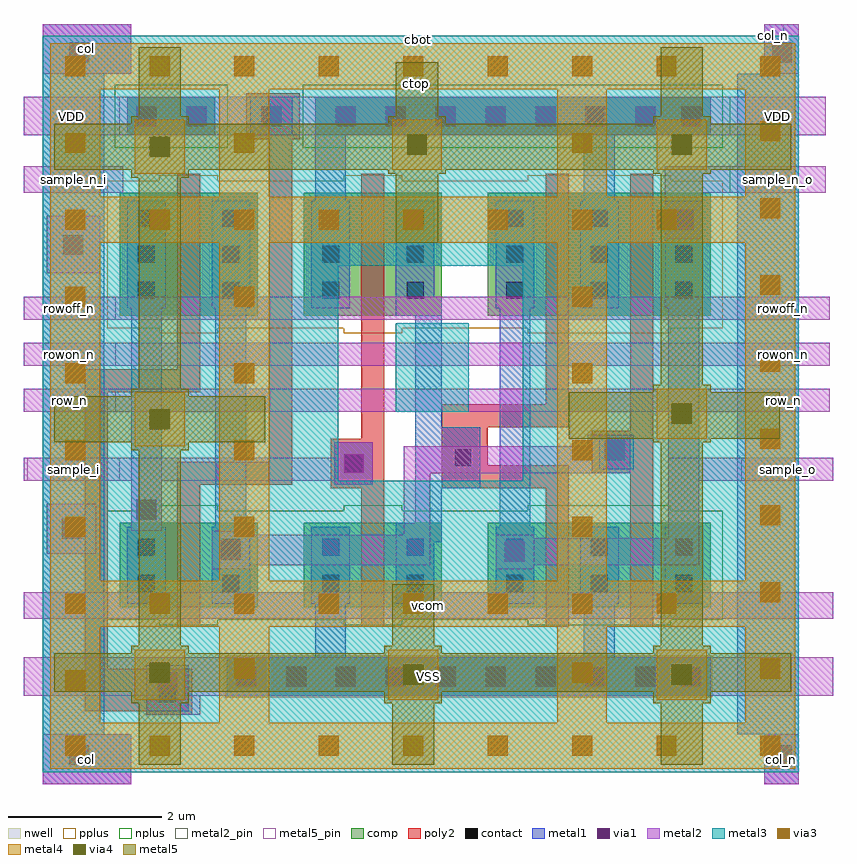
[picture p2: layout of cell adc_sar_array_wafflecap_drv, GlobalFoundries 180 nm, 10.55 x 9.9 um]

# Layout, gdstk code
import gdstk
lib = gdstk.Library(unit=1e-6, precision=1e-09)
def R(c, l, rs):  # rectangles x0, y0, x1, y1
    for r in rs: c.add(gdstk.rectangle(r[:2], r[2:], *l))
def A(c, l, x, y, w, h, nx, ny, dx, dy):  # array of equal rectangles
    R(c, l, [(x+i*dx, y+j*dy, x+i*dx+w, y+j*dy+h) for i in range(nx) for j in range(ny)])
nwell = (21, 0)
comp = (22, 0)
poly2 = (30, 0)
pplus = (31, 0)
nplus = (32, 0)
contact = (33, 0)
metal1 = (34, 0)
via1 = (35, 0)
metal2 = (36, 0)
metal2_pin = (36, 10)
via3 = (40, 0)
via4 = (41, 0)
metal3 = (42, 0)
metal4 = (46, 0)
metal5 = (81, 0)
metal5_pin = (81, 10)

adc_sar_array_wafflecap_ = lib.new_cell('adc_sar_array_wafflecap_drv')
R(adc_sar_array_wafflecap_, nwell, [(-10.2,5.5,-8.4,7.1), (-7.8,5.5,-6,7.1), (-5.4,5.5,-2.5,7.1), (-10.1,7.85,-8.95,8.35), (-7.65,7.85,-2.5,8.35)])
R(adc_sar_array_wafflecap_, comp, [(-8.8,0.55,-2.5,1.05), (-10.2,1.7,-8.4,2.8), (-7.8,1.7,-6,2.8), (-5.4,1.7,-2.5,2.8), (-10.2,5.5,-8.4,7.1), (-7.8,5.5,-6,7.1), (-5.4,5.5,-2.5,7.1), (-10.1,7.85,-8.95,8.35), (-7.65,7.85,-2.5,8.35)])
R(adc_sar_array_wafflecap_, poly2, [(-9.85,0.3,-9.25,0.35), (-10.65,0.35,-9.25,0.9), (-10.65,0.9,-10.35,4.5), (-9.45,1.45,-9.15,3.3), (-7.05,1.45,-6.75,3.25), (-4.65,1.45,-4.35,3.25), (-3.55,1.45,-3.25,3.45), (-7.45,3.25,-6.75,3.9), (-6,3.25,-4.35,3.55), (-9.45,3.3,-7.95,3.6), (-4.05,3.45,-3.25,4), (-6,3.55,-5.4,4.05), (-8.25,3.6,-7.95,7.8), (-7.05,3.9,-6.75,7.35), (-3.55,4,-3.25,7.35), (-6,4.05,-4.35,4.35), (-4.65,4.35,-4.35,7.35), (-10.65,4.5,-9.15,4.8), (-9.45,4.8,-9.15,7.35), (-8.55,7.8,-7.85,8.4)])
R(adc_sar_array_wafflecap_, pplus, [(-8.82,0.53,-2.48,1.07), (-9.68,5.27,-8.92,5.34), (-7.28,5.27,-6.52,5.34), (-4.88,5.27,-3.02,5.34), (-10.36,5.34,-2.34,7.26), (-9.68,7.26,-8.92,7.33), (-7.28,7.26,-6.52,7.33), (-4.88,7.26,-3.02,7.33)])
R(adc_sar_array_wafflecap_, nplus, [(-9.68,1.47,-8.92,1.54), (-7.28,1.47,-6.52,1.54), (-4.88,1.47,-3.02,1.54), (-10.36,1.54,-2.34,2.96), (-9.68,2.96,-8.92,3.03), (-7.28,2.96,-6.52,3.03), (-4.88,2.96,-3.02,3.03), (-10.26,7.69,-8.79,8.51), (-7.81,7.69,-2.34,8.51)])
A(adc_sar_array_wafflecap_, contact, -8.66, 0.69, 0.22, 0.22, 9, 1, 0.65, 0)
A(adc_sar_array_wafflecap_, contact, -5.16, 1.905, 0.22, 0.22, 3, 2, 1.1, 0.47)
A(adc_sar_array_wafflecap_, contact, -9.96, 5.72, 0.22, 0.22, 1, 3, 0, 0.47)
A(adc_sar_array_wafflecap_, contact, -8.86, 5.72, 0.22, 0.22, 1, 3, 0, 0.47)
A(adc_sar_array_wafflecap_, contact, -7.56, 5.72, 0.22, 0.22, 1, 3, 0, 0.47)
A(adc_sar_array_wafflecap_, contact, -6.46, 5.72, 0.22, 0.22, 1, 3, 0, 0.47)
A(adc_sar_array_wafflecap_, contact, -5.16, 5.72, 0.22, 0.22, 3, 3, 1.1, 0.47)
A(adc_sar_array_wafflecap_, contact, -9.31, 7.99, 0.22, 0.22, 3, 1, 0.975, 0)
A(adc_sar_array_wafflecap_, contact, -6.71, 7.99, 0.22, 0.22, 6, 1, 0.65, 0)
R(adc_sar_array_wafflecap_, contact, [(-9.685,0.465,-9.465,0.685), (-2.86,0.69,-2.64,0.91), (-9.96,1.905,-9.74,2.125), (-8.86,1.905,-8.64,2.125), (-7.56,1.905,-7.34,2.125), (-6.46,1.905,-6.24,2.125), (-9.96,2.375,-9.74,2.595), (-8.86,2.375,-8.64,2.595), (-7.56,2.375,-7.34,2.595), (-6.46,2.375,-6.24,2.595), (-7.26,3.465,-7.04,3.685), (-5.835,3.54,-5.615,3.76), (-3.86,3.615,-3.64,3.835), (-9.96,7.99,-9.74,8.21), (-2.86,7.99,-2.64,8.21)])
A(adc_sar_array_wafflecap_, metal1, -5.3, 1.75, 0.5, 1, 3, 1, 1.1, 0)
A(adc_sar_array_wafflecap_, metal1, -5.3, 5.6, 0.5, 1.4, 3, 1, 1.1, 0)
R(adc_sar_array_wafflecap_, metal1, [(-11.2,-0.6,-10.05,0.05), (-1.8,-0.6,-1.35,0.05), (-11.2,0.05,-10.4,8.65), (-2.15,0.05,-1.35,8.65), (-9.85,0.35,-9.3,0.95), (-8.8,0.55,-2.5,1.05), (-7.65,1.05,-7.25,1.75), (-4.15,1.05,-3.75,1.75), (-10.1,1.75,-9.6,2.75), (-9,1.75,-8.5,2.75), (-7.7,1.75,-7.2,2.75), (-6.6,1.75,-6.1,2.55), (-6.6,2.55,-6,2.8), (-10.05,2.75,-9.65,5.6), (-8.95,2.75,-8.55,5.6), (-5.25,2.75,-4.85,5.6), (-3.05,2.75,-2.65,5.6), (-6.35,2.8,-6,3.25), (-6.35,3.25,-5.5,4.05), (-7.4,3.3,-6.9,3.85), (-3.95,3.5,-3.5,3.95), (-6.35,4.05,-6,5.5), (-6.6,5.5,-6,5.75), (-10.1,5.6,-9.6,7), (-9,5.6,-8.5,7), (-7.7,5.6,-7.2,7), (-6.6,5.75,-6.1,7), (-7.65,7,-7.25,7.85), (-4.15,7,-3.75,7.85), (-10.1,7.85,-8.95,8.35), (-8.5,7.85,-7.95,8.35), (-7.65,7.85,-2.5,8.35), (-11.2,8.65,-10.05,9.3), (-1.8,8.65,-1.35,9.3)])
A(adc_sar_array_wafflecap_, via1, -8.68, 0.67, 0.26, 0.26, 9, 1, 0.65, 0)
A(adc_sar_array_wafflecap_, via1, -9.33, 7.97, 0.26, 0.26, 3, 1, 0.975, 0)
A(adc_sar_array_wafflecap_, via1, -6.73, 7.97, 0.26, 0.26, 6, 1, 0.65, 0)
R(adc_sar_array_wafflecap_, via1, [(-10.855,-0.355,-10.595,-0.095), (-1.7,-0.355,-1.44,-0.095), (-9.705,0.595,-9.445,0.855), (-2.88,0.67,-2.62,0.93), (-5.18,2.295,-4.92,2.555), (-8.88,2.32,-8.62,2.58), (-10.955,2.595,-10.695,2.855), (-9.98,2.845,-9.72,3.105), (-7.28,3.445,-7.02,3.705), (-3.88,3.62,-3.62,3.88), (-10.93,6.295,-10.67,6.555), (-2.98,6.62,-2.72,6.88), (-9.98,7.97,-9.72,8.23), (-2.88,7.97,-2.62,8.23), (-10.855,8.795,-10.595,9.055), (-1.7,8.795,-1.44,9.055)])
A(adc_sar_array_wafflecap_, metal2, -11.45, 4.25, 10.5, 0.3, 1, 3, 0, 0.6)
R(adc_sar_array_wafflecap_, metal2, [(-11.2,-0.6,-10.05,0.05), (-1.8,-0.6,-1.35,0.05), (-9.85,0.3,-9.15,0.55), (-11.45,0.55,-0.9,1.05), (-11.45,1.55,-0.9,1.9), (-9,2.2,-8.5,2.25), (-5.3,2.2,-4.8,2.25), (-9,2.25,-6.15,2.65), (-5.3,2.25,-2.65,2.6), (-11.15,2.4,-10.5,3.05), (-5.3,2.6,-4.8,2.65), (-3.05,2.6,-2.65,3.35), (-9,2.65,-8.5,2.7), (-6.5,2.65,-6.15,3.45), (-10.05,2.7,-9.65,3.35), (-7.4,3.3,-6.9,3.35), (-11.45,3.35,-6.9,3.65), (-3.05,3.35,-0.9,3.65), (-6.5,3.45,-3.55,3.8), (-7.4,3.65,-6.9,3.85), (-4.1,3.8,-3.55,3.95), (-11.15,6.05,-10.45,6.8), (-3.1,6.5,-2.6,7.1), (-11.45,7.1,-10.15,7.45), (-3.1,7.1,-1,7.45), (-11.45,7.85,-1,8.35), (-11.2,8.65,-10.05,9.3), (-1.8,8.65,-1.35,9.3)])
A(adc_sar_array_wafflecap_, metal2_pin, -11.45, 4.25, 1.2, 0.3, 1, 3, 0, 0.6)
A(adc_sar_array_wafflecap_, metal2_pin, -2.15, 4.25, 1.2, 0.3, 1, 3, 0, 0.6)
R(adc_sar_array_wafflecap_, metal2_pin, [(-11.2,-0.6,-10.05,0.05), (-1.8,-0.6,-1.35,0.05), (-11.45,0.55,-0.9,1.05), (-11.45,1.55,-0.9,1.9), (-11.4,3.35,-10.2,3.65), (-2.1,3.35,-0.9,3.65), (-11.45,7.1,-10.15,7.45), (-2.25,7.1,-1,7.45), (-11.45,7.85,-10.2,8.35), (-2.25,7.85,-1,8.35), (-11.2,8.65,-10.05,9.3), (-1.8,9,-1.55,9.3)])
A(adc_sar_array_wafflecap_, via3, -10.905, -0.23, 0.26, 0.26, 8, 2, 1.1, 1.85)
A(adc_sar_array_wafflecap_, via3, -1.855, -0.23, 0.26, 0.26, 1, 9, 0, 1)
A(adc_sar_array_wafflecap_, via3, -10.905, 2.62, 0.26, 0.26, 1, 4, 0, 1)
A(adc_sar_array_wafflecap_, via3, -8.705, 2.62, 0.26, 0.26, 1, 4, 0, 1)
A(adc_sar_array_wafflecap_, via3, -4.305, 2.62, 0.26, 0.26, 1, 4, 0, 1)
A(adc_sar_array_wafflecap_, via3, -10.905, 6.62, 0.26, 0.26, 8, 2, 1.1, 2)
R(adc_sar_array_wafflecap_, via3, [(-10.905,0.62,-10.645,0.88), (-4.305,0.72,-4.045,0.98), (-8.705,0.77,-8.445,1.03), (-10.905,7.62,-10.645,7.88), (-8.705,7.62,-8.445,7.88), (-4.305,7.62,-4.045,7.88), (-1.855,8.62,-1.595,8.88)])
R(adc_sar_array_wafflecap_, via4, [(-6.505,0.695,-6.245,0.955), (-3.005,0.695,-2.745,0.955), (-9.805,0.72,-9.545,0.98), (-9.805,4.02,-9.545,4.28), (-3.005,4.095,-2.745,4.355), (-9.805,7.57,-9.545,7.83), (-6.455,7.595,-6.195,7.855), (-3.005,7.595,-2.745,7.855)])
R(adc_sar_array_wafflecap_, metal3, [(-11.2,-0.45,-1.35,3.35), (-11.2,3.35,-7.35,6.15), (-4.95,3.35,-1.35,6.15), (-6.6,4.25,-5.65,5.4), (-11.2,6.15,-1.35,9.15)])
R(adc_sar_array_wafflecap_, metal4, [(-11.1,-0.4,-1.4,0.2), (-11.1,0.2,-10.45,1.45), (-8.9,0.2,-8.25,1.45), (-4.5,0.2,-3.85,1.45), (-2.05,0.2,-1.4,1.45), (-10,0.5,-9.35,1.15), (-6.7,0.5,-6.05,1.15), (-3.2,0.5,-2.55,1.15), (-11.1,1.45,-1.4,2.05), (-11.1,2.05,-10.45,6.45), (-8.9,2.05,-8.25,6.45), (-4.5,2.05,-3.85,6.45), (-2.05,2.05,-1.4,6.45), (-10,3.8,-9.35,4.5), (-3.2,3.9,-2.55,4.55), (-11.1,6.45,-1.4,7.05), (-11.1,7.05,-10.45,8.45), (-8.9,7.05,-8.25,8.45), (-4.5,7.05,-3.85,8.45), (-2.05,7.05,-1.4,8.45), (-10,7.35,-9.35,8.05), (-6.65,7.4,-6,8.05), (-3.2,7.4,-2.55,8.05), (-11.1,8.45,-1.4,9.05)])
R(adc_sar_array_wafflecap_, metal5, [(-9.95,-0.35,-9.4,0.45), (-6.65,-0.35,-6.1,0.45), (-3.15,-0.35,-2.6,0.45), (-10.05,0.45,-9.3,0.6), (-6.75,0.45,-6,0.6), (-3.25,0.45,-2.5,0.6), (-11.05,0.6,-1.45,1.1), (-10.05,1.1,-9.3,1.2), (-6.75,1.1,-6,1.2), (-3.25,1.1,-2.5,1.2), (-9.95,1.2,-9.4,3.75), (-6.65,1.2,-6.1,2), (-3.15,1.2,-2.6,3.85), (-10.05,3.75,-9.3,3.85), (-11.05,3.85,-8.3,4.45), (-3.25,3.85,-2.5,3.9), (-4.35,3.9,-1.6,4.5), (-10.05,4.45,-9.3,4.55), (-3.25,4.5,-2.5,4.6), (-9.95,4.55,-9.4,7.3), (-3.15,4.6,-2.6,7.35), (-6.6,6.45,-6.05,7.35), (-10.05,7.3,-9.3,7.4), (-6.7,7.35,-5.95,7.4), (-3.25,7.35,-2.5,7.4), (-11.05,7.4,-1.45,8), (-10.05,8,-9.3,8.1), (-6.7,8,-5.95,8.1), (-3.25,8,-2.5,8.1), (-9.95,8.1,-9.4,9), (-6.6,8.1,-6.05,8.8), (-3.15,8.1,-2.6,9)])
R(adc_sar_array_wafflecap_, metal5_pin, [(-6.6,8.25,-6.05,8.8)])
adc_sar_array_wafflecap_.add(gdstk.Label('col', (-10.625,8.975), layer=36, texttype=10))
adc_sar_array_wafflecap_.add(gdstk.Label('VDD', (-10.825,8.1), layer=36, texttype=10))
adc_sar_array_wafflecap_.add(gdstk.Label('VDD', (-1.625,8.1), layer=36, texttype=10))
adc_sar_array_wafflecap_.add(gdstk.Label('col_n', (-1.675,9.15), layer=36, texttype=10))
adc_sar_array_wafflecap_.add(gdstk.Label('sample_n_i', (-10.8,7.275), layer=36, texttype=10))
adc_sar_array_wafflecap_.add(gdstk.Label('sample_n_o', (-1.625,7.275), layer=36, texttype=10))
adc_sar_array_wafflecap_.add(gdstk.Label('rowoff_n', (-10.85,5.6), layer=36, texttype=10))
adc_sar_array_wafflecap_.add(gdstk.Label('rowoff_n', (-1.55,5.6), layer=36, texttype=10))
adc_sar_array_wafflecap_.add(gdstk.Label('rowon_n', (-10.85,5), layer=36, texttype=10))
adc_sar_array_wafflecap_.add(gdstk.Label('rowon_n', (-1.55,5), layer=36, texttype=10))
adc_sar_array_wafflecap_.add(gdstk.Label('row_n', (-10.85,4.4), layer=36, texttype=10))
adc_sar_array_wafflecap_.add(gdstk.Label('row_n', (-1.55,4.4), layer=36, texttype=10))
adc_sar_array_wafflecap_.add(gdstk.Label('sample_i', (-10.8,3.5), layer=36, texttype=10))
adc_sar_array_wafflecap_.add(gdstk.Label('sample_o', (-1.5,3.5), layer=36, texttype=10))
adc_sar_array_wafflecap_.add(gdstk.Label('vcom', (-6.175,1.725), layer=36, texttype=10))
adc_sar_array_wafflecap_.add(gdstk.Label('VSS', (-6.175,0.8), layer=36, texttype=10))
adc_sar_array_wafflecap_.add(gdstk.Label('col', (-10.625,-0.275), layer=36, texttype=10))
adc_sar_array_wafflecap_.add(gdstk.Label('col_n', (-1.575,-0.275), layer=36, texttype=10))
adc_sar_array_wafflecap_.add(gdstk.Label('ctop', (-6.325,8.525), layer=81, texttype=10))
adc_sar_array_wafflecap_.add(gdstk.Label('cbot', (-6.3,9.1), layer=42, texttype=10))

lib.write_gds('adc_sar_array_wafflecap_drv.gds')
